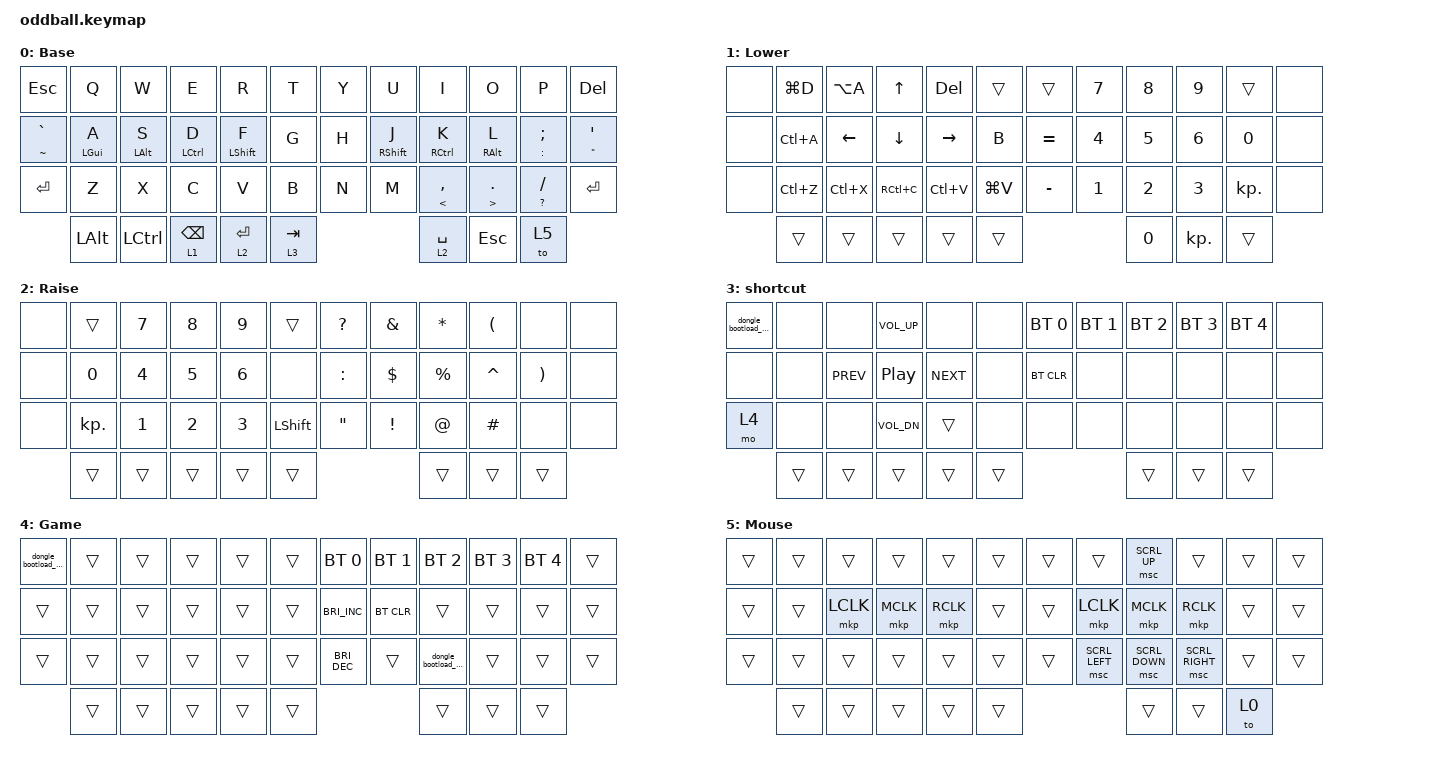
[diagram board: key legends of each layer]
#include <behaviors.dtsi>
#include <dt-bindings/zmk/bt.h>
#include <dt-bindings/zmk/keys.h>
#include <dt-bindings/zmk/mouse.h>

&lt {
    tapping-term-ms = <240>;
    flavor = "balanced";
    quick-tap-ms = <150>;
};

&mt {
    global-quick-tap;
    flavor = "tap-preferred";
    tapping-term-ms = <200>;
};

&sk {
    release-after-ms = <2000>;
    quick-release;
};

/ {
    macros {
        dongle_bootload_macro: bootload_macro {
            compatible = "zmk,behavior-macro";
            #binding-cells = <0>;
            bindings = <&bootloader>;
            label = "BOOTLOAD_MACRO";
        };
    };

    combos {
        compatible = "zmk,combos";

        combo_esc {
            timeout-ms = <50>;
            key-positions = <0 1>;
            bindings = <&kp ESC>;
        };

        left_bkt {
            bindings = <&kp LEFT_BRACKET>;
            key-positions = <2 3>;
            timeout-ms = <50>;
        };

        right_bkt {
            bindings = <&kp RIGHT_BRACKET>;
            key-positions = <8 9>;
            timeout-ms = <50>;
        };

        left_par {
            bindings = <&kp LEFT_PARENTHESIS>;
            key-positions = <15 16>;
            timeout-ms = <50>;
        };

        right_par {
            bindings = <&kp RIGHT_PARENTHESIS>;
            key-positions = <19 20>;
            timeout-ms = <50>;
        };

        left_brace {
            bindings = <&kp LEFT_BRACE>;
            key-positions = <27 28>;
            timeout-ms = <50>;
        };

        right_brace {
            bindings = <&kp RIGHT_BRACE>;
            key-positions = <31 32>;
            timeout-ms = <50>;
        };

        bac {
            bindings = <&kp BACKSLASH>;
            key-positions = <5 6>;
            timeout-ms = <50>;
        };

        pipe {
            bindings = <&kp PIPE>;
            key-positions = <17 18>;
            timeout-ms = <50>;
        };
    };

    behaviors {
        hm: homerow_mods {
            compatible = "zmk,behavior-hold-tap";
            label = "HOMEROW_MODS";
            bindings = <&kp>, <&kp>;

            #binding-cells = <2>;
            tapping-term-ms = <200>;
            quick-tap-ms = <180>;
            flavor = "tap-preferred";
        };

        ltq: ltq {
            compatible = "zmk,behavior-hold-tap";
            label = "LTQ";
            bindings = <&mo>, <&kp>;

            #binding-cells = <2>;
            tapping-term-ms = <200>;
            quick-tap-ms = <180>;
        };

        as: auto_shift {
            compatible = "zmk,behavior-hold-tap";
            label = "AUTO_SHIFT";
            bindings = <&kp>, <&kp>;

            #binding-cells = <2>;
            tapping-term-ms = <135>;
            quick-tap-ms = <0>;
        };
    };

    keymap {
        compatible = "zmk,keymap";

        Base {
            label = "Base";
            bindings = <
&kp ESCAPE       &kp Q           &kp W           &kp E               &kp R             &kp T      &kp Y  &kp U              &kp I                &kp O                    &kp P                &kp DELETE
&as TILDE GRAVE  &hm LEFT_GUI A  &hm LEFT_ALT S  &hm LEFT_CONTROL D  &hm LEFT_SHIFT F  &kp G      &kp H  &hm RIGHT_SHIFT J  &hm RIGHT_CONTROL K  &hm RIGHT_ALT L          &as COLON SEMICOLON  &as DOUBLE_QUOTES SINGLE_QUOTE
&kp ENTER        &kp Z           &kp X           &kp C               &kp V             &kp B      &kp N  &kp M              &as LESS_THAN COMMA  &as GREATER_THAN PERIOD  &as QUESTION SLASH   &kp ENTER
                 &kp LEFT_ALT    &kp LCTRL       &ltq 1 BSPC         &ltq 2 ENTER      &lt 3 TAB                            &ltq 2 SPACE         &kp ESC                  &to 5
            >;
        };

        Lower {
            label = "Lower";
            bindings = <
&none  &kp LG(D)  &kp LA(A)  &kp UP     &kp DELETE  &trans     &trans     &kp N7  &kp N8  &kp N9      &trans      &none
&none  &kp LC(A)  &kp LEFT   &kp DOWN   &kp RIGHT   &kp B      &kp EQUAL  &kp N4  &kp N5  &kp N6      &kp N0      &none
&none  &kp LC(Z)  &kp LC(X)  &kp RC(C)  &kp LC(V)   &kp LG(V)  &kp MINUS  &kp N1  &kp N2  &kp N3      &kp KP_DOT  &none
       &trans     &trans     &trans     &trans      &trans                        &kp N0  &kp KP_DOT  &trans
            >;
        };

        Raise {
            label = "Raise";
            bindings = <
&none  &trans      &kp N7  &kp N8  &kp N9  &trans          &kp QUESTION       &kp AMPS  &kp ASTERISK  &kp LPAR   &none     &none
&none  &kp N0      &kp N4  &kp N5  &kp N6  &none           &kp COLON          &kp DLLR  &kp PRCNT     &kp CARET  &kp RPAR  &none
&none  &kp KP_DOT  &kp N1  &kp N2  &kp N3  &kp LEFT_SHIFT  &kp DOUBLE_QUOTES  &kp EXCL  &kp AT        &kp HASH   &none     &none
       &trans      &trans  &trans  &trans  &trans                                       &trans        &trans     &trans
            >;
        };

        Shortcut {
            label = "shortcut";
            bindings = <
&dongle_bootload_macro  &none   &none       &kp C_VOL_UP  &none       &none   &bt BT_SEL 0  &bt BT_SEL 1  &bt BT_SEL 2  &bt BT_SEL 3  &bt BT_SEL 4  &none
&none                   &none   &kp C_PREV  &kp C_PP      &kp C_NEXT  &none   &bt BT_CLR    &none         &none         &none         &none         &none
&mo 4                   &none   &none       &kp C_VOL_DN  &trans      &none   &none         &none         &none         &none         &none         &none
                        &trans  &trans      &trans        &trans      &trans                              &trans        &trans        &trans
            >;
        };

        Game {
            label = "Game";
            bindings = <
&dongle_bootload_macro  &trans  &trans  &trans  &trans  &trans  &bt BT_SEL 0          &bt BT_SEL 1  &bt BT_SEL 2            &bt BT_SEL 3  &bt BT_SEL 4  &trans
&trans                  &trans  &trans  &trans  &trans  &trans  &kp C_BRIGHTNESS_INC  &bt BT_CLR    &trans                  &trans        &trans        &trans
&trans                  &trans  &trans  &trans  &trans  &trans  &kp C_BRI_DEC         &trans        &dongle_bootload_macro  &trans        &trans        &trans
                        &trans  &trans  &trans  &trans  &trans                                      &trans                  &trans        &trans
            >;
        };

        Mouse {
            bindings = <
&trans  &trans  &trans     &trans     &trans     &trans  &trans  &trans          &msc SCRL_UP    &trans           &trans  &trans
&trans  &trans  &mkp LCLK  &mkp MCLK  &mkp RCLK  &trans  &trans  &mkp LCLK       &mkp MCLK       &mkp RCLK        &trans  &trans
&trans  &trans  &trans     &trans     &trans     &trans  &trans  &msc SCRL_LEFT  &msc SCRL_DOWN  &msc SCRL_RIGHT  &trans  &trans
        &trans  &trans     &trans     &trans     &trans                          &trans          &trans           &to 0
            >;
        };
    };

    conditional_layers {
        compatible = "zmk,conditional-layers";

        game {
            if-layers = <2 3>;
            then-layer = <4>;
        };
    };
};
